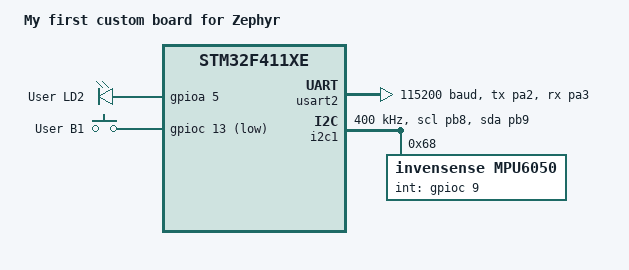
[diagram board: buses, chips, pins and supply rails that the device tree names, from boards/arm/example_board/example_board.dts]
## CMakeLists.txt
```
cmake_minimum_required(VERSION 3.20.0)

set(BOARD_ROOT "${CMAKE_CURRENT_SOURCE_DIR}/.")
set(BOARD "example_board")
#set(BOARD "nucleo_f411re")

find_package(Zephyr)
project(stm32-zephyr)

target_sources(app PRIVATE 
	"src/main.c"
)
```

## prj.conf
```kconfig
CONFIG_GPIO=y

CONFIG_CBPRINTF_FP_SUPPORT=y
```

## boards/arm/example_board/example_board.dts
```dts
/dts-v1/;
#include <st/f4/stm32f411Xe.dtsi>
#include <st/f4/stm32f411r(c-e)tx-pinctrl.dtsi>

/ {
	model = "My first custom board for Zephyr";
	compatible = "kczewo-inc,custom-board";

	chosen {
		zephyr,console = &usart2;
		zephyr,shell-uart = &usart2;
		zephyr,sram = &sram0;
		zephyr,flash = &flash0;
	};

	leds {
		compatible = "gpio-leds";
		green_led_2: led_2 {
			gpios = <&gpioa 5 GPIO_ACTIVE_HIGH>;
			label = "User LD2";
		};
	};

	gpio_keys {
		compatible = "gpio-keys";
		user_button: button {
			label = "User B1";
			gpios = <&gpioc 13 GPIO_ACTIVE_LOW>;
		};
	};

	aliases {
		led0 = &green_led_2;
		sw0 = &user_button;
	};
};

&pll {
	div-m = <8>;
	mul-n = <100>;
	div-p = <2>;
	div-q = <4>;
	clocks = <&clk_hsi>;
	status = "okay";
};

&rcc {
	clocks = <&pll>;
	clock-frequency = <DT_FREQ_M(100)>;
	ahb-prescaler = <1>;
	apb1-prescaler = <2>;
	apb2-prescaler = <1>;
};

&usart2 {
	pinctrl-0 = <&usart2_tx_pa2 &usart2_rx_pa3>;
	pinctrl-names = "default";
	current-speed = <115200>;
	status = "okay";
};

&i2c1 {
	pinctrl-0 = <&i2c1_scl_pb8 &i2c1_sda_pb9>;
	pinctrl-names = "default";
	clock-frequency = <I2C_BITRATE_FAST>;
	status = "okay";

	mpu6050@68 {
		compatible = "invensense,mpu6050";
		reg = <0x68>;
		status = "okay";
		int-gpios = <&gpioc 9 GPIO_ACTIVE_HIGH>;
	};
};
```

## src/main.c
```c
#include <zephyr/kernel.h>
#include <zephyr/drivers/gpio.h>

static void blink() {
	
	const struct gpio_dt_spec led = GPIO_DT_SPEC_GET(DT_ALIAS(led0), gpios);

	if(!device_is_ready(led.port))
		return;

	if(gpio_pin_configure_dt(&led, GPIO_OUTPUT_ACTIVE)<0)
		return;

	while(1) {

		if(gpio_pin_toggle_dt(&led)<0)
			return;

		k_msleep(100);
	}
}

K_THREAD_DEFINE(blink_id, 1024, blink, NULL, NULL, NULL, 7, 0, 0);

void main() {

}
```
